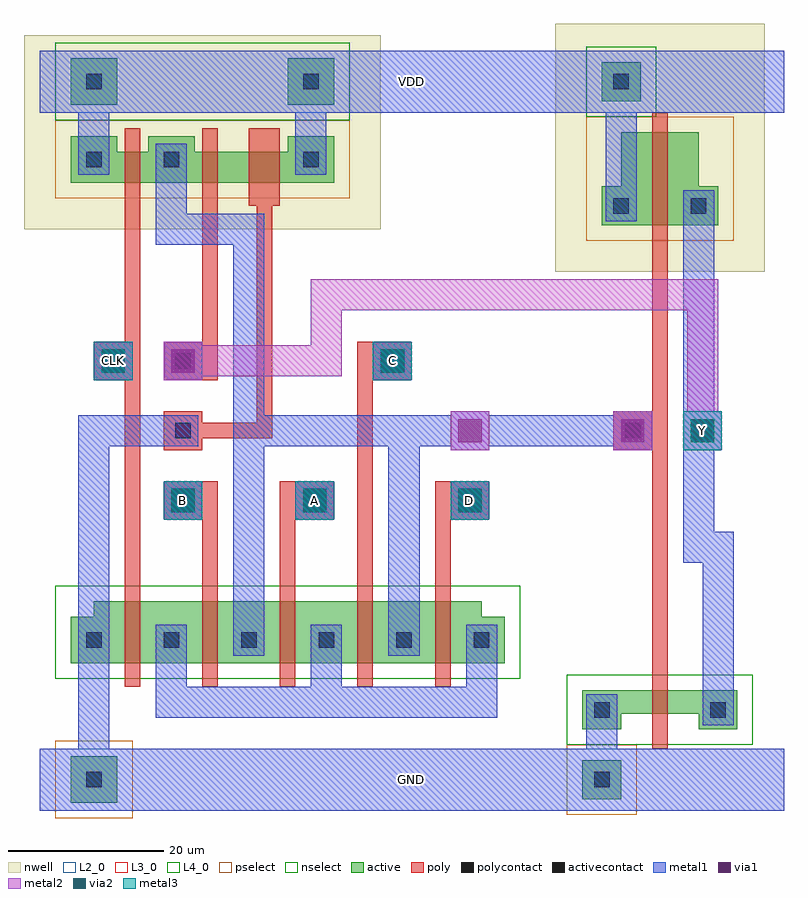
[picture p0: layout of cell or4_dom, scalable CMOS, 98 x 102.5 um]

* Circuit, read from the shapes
.subckt or4_dom A B C CLK D GND VDD Y
M1 n1 CLK GND GND nfet w=8u l=2u
M2 inv_hskew_1/X B n1 GND nfet w=8u l=2u
M3 n1 A inv_hskew_1/X GND nfet w=8u l=2u
M4 inv_hskew_1/X C n1 GND nfet w=8u l=2u
M5 n1 D inv_hskew_1/X GND nfet w=8u l=2u
M6 Y inv_hskew_1/X GND GND nfet w=3u l=2u
M7 inv_hskew_1/X CLK VDD VDD pfet w=4u l=2u
M8 n2 Y inv_hskew_1/X VDD pfet w=4u l=2u
M9 VDD GND n2 VDD pfet w=4u l=4u
M10 Y inv_hskew_1/X VDD VDD pfet w=12u l=2u
.ends

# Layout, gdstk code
import gdstk
lib = gdstk.Library(unit=1e-6, precision=1e-09)
def R(c, l, rs):  # rectangles x0, y0, x1, y1
    for r in rs: c.add(gdstk.rectangle(r[:2], r[2:], *l))
def A(c, l, x, y, w, h, nx, ny, dx, dy):  # array of equal rectangles
    R(c, l, [(x+i*dx, y+j*dy, x+i*dx+w, y+j*dy+h) for i in range(nx) for j in range(ny)])
def P(c, l, *ps):  # polygons
    for p in ps: c.add(gdstk.Polygon(p, *l))
L2_0 = (2, 0)
L3_0 = (3, 0)
L4_0 = (4, 0)
nwell = (42, 0)
active = (43, 0)
pselect = (44, 0)
nselect = (45, 0)
poly = (46, 0)
polycontact = (47, 0)
activecontact = (48, 0)
metal1 = (49, 0)
via1 = (50, 0)
metal2 = (51, 0)
via2 = (61, 0)
metal3 = (62, 0)

nor4_dyn = lib.new_cell('nor4_dyn')
R(nor4_dyn, L2_0, [(-9,-84,55,-76), (-9,6,55,14)])
R(nor4_dyn, L3_0, [(7,-46.5,12,-41.5), (24,-46.5,29,-41.5), (44,-46.5,49,-41.5), (44,-37.5,49,-32.5), (-2,-28.5,3,-23.5), (7,-28.5,12,-23.5), (34,-28.5,39,-23.5)])
R(nor4_dyn, nwell, [(-11,-9,35,16)])
A(nor4_dyn, active, 1, -61, 4, 4, 5, 1, 10, 0)
R(nor4_dyn, active, [(-5,-83,1,-77), (-5,-65,11,-61), (11,-65,15,-61), (15,-65,21,-57), (21,-65,31,-61), (31,-65,51,-61), (-5,-61,1,-59), (5,-61,11,-57), (25,-61,31,-57), (35,-61,41,-57), (45,-61,51,-59), (-2,-59,1,-57), (45,-59,48,-57), (-5,-3,11,1), (11,-3,16,1), (16,-3,29,1), (-5,1,1,3), (5,1,11,3), (23,1,29,3), (-5,7,1,13), (23,7,29,13)])
R(nor4_dyn, pselect, [(-7,-85,3,-75), (-7,-5,31,5)])
R(nor4_dyn, nselect, [(-7,-67,53,-55), (-7,5,31,15)])
A(nor4_dyn, poly, 2, -68, 2, 10, 5, 1, 10, 0)
A(nor4_dyn, poly, 7, -46.5, 5, 5, 1, 3, 0, 9)
R(nor4_dyn, poly, [(24,-46.5,29,-41.5), (44,-46.5,49,-41.5), (-2,-28.5,3,-23.5), (34,-28.5,39,-23.5), (2,-6,4,4), (12,-6,14,4), (18,-6,22,4)])
A(nor4_dyn, polycontact, 8.5, -45, 2, 2, 1, 3, 0, 9)
R(nor4_dyn, polycontact, [(25.5,-45,27.5,-43), (45.5,-45,47.5,-43), (-0.5,-27,1.5,-25), (35.5,-27,37.5,-25)])
A(nor4_dyn, activecontact, -3, -63, 2, 2, 6, 1, 10, 0)
R(nor4_dyn, activecontact, [(-3,-81,-1,-79), (-3,-1,-1,1), (7,-1,9,1), (25,-1,27,1), (-3,9,-1,11), (25,9,27,11)])
A(nor4_dyn, metal1, -4, -64, 4, 4, 6, 1, 10, 0)
R(nor4_dyn, metal1, [(-9,-84,55,-76), (-4,-82,0,-78), (6,-72,50,-68), (7,-46.5,12,-41.5), (24,-46.5,29,-41.5), (44,-46.5,49,-41.5), (44,-37.5,49,-32.5), (7.5,-37,11.5,-33), (-2,-28.5,3,-23.5), (7,-28.5,12,-23.5), (34,-28.5,39,-23.5), (6,-11,20,-7), (-4,-2,0,2), (6,-2,10,2), (24,-2,28,2), (-9,6,55,14), (-4,8,0,12), (24,8,28,12)])
R(nor4_dyn, via1, [(8,-45.5,11,-42.5), (25,-45.5,28,-42.5), (45,-45.5,48,-42.5), (45,-36.5,48,-33.5), (-1,-27.5,2,-24.5), (8,-27.5,11,-24.5), (35,-27.5,38,-24.5)])
R(nor4_dyn, metal2, [(7,-46.5,12,-41.5), (24,-46.5,29,-41.5), (44,-46.5,49,-41.5), (44,-37.5,49,-32.5), (-2,-28.5,3,-23.5), (7,-28.5,12,-23.5), (34,-28.5,39,-23.5)])
nor4_dyn.add(gdstk.FlexPath([(-2,-64),(-2,-78)], 4, ends="flush", simple_path=True, layer=49, datatype=0))  # metal1
nor4_dyn.add(gdstk.FlexPath([(26,8),(26,2)], 4, ends="flush", simple_path=True, layer=49, datatype=0))  # metal1
nor4_dyn.add(gdstk.FlexPath([(8,-2),(8,-7)], 4, ends="flush", simple_path=True, layer=49, datatype=0))  # metal1
nor4_dyn.add(gdstk.FlexPath([(44,-35),(20,-35)], 4, ends="flush", simple_path=True, layer=49, datatype=0))  # metal1
nor4_dyn.add(gdstk.FlexPath([(38,-60),(38,-37)], 4, ends="flush", simple_path=True, layer=49, datatype=0))  # metal1
nor4_dyn.add(gdstk.FlexPath([(48,-68),(48,-64)], 4, ends="flush", simple_path=True, layer=49, datatype=0))  # metal1
nor4_dyn.add(gdstk.FlexPath([(7.5,-35),(-2,-35),(-2,-60)], 4, ends="flush", simple_path=True, layer=49, datatype=0))  # metal1
nor4_dyn.add(gdstk.FlexPath([(-2,8),(-2,2)], 4, ends="flush", simple_path=True, layer=49, datatype=0))  # metal1
nor4_dyn.add(gdstk.FlexPath([(8,-64),(8,-68)], 4, ends="flush", simple_path=True, layer=49, datatype=0))  # metal1
nor4_dyn.add(gdstk.FlexPath([(28,-64),(28,-68)], 4, ends="flush", simple_path=True, layer=49, datatype=0))  # metal1
nor4_dyn.add(gdstk.FlexPath([(18,-60),(18,-11)], 4, ends="flush", simple_path=True, layer=49, datatype=0))  # metal1
nor4_dyn.add(gdstk.FlexPath([(13,-6),(13,-28.5)], 2, ends="flush", simple_path=True, layer=46, datatype=0))  # poly
nor4_dyn.add(gdstk.FlexPath([(3,-58),(3,-6)], 2, ends="flush", simple_path=True, layer=46, datatype=0))  # poly
nor4_dyn.add(gdstk.FlexPath([(23,-58),(23,-41.5)], 2, ends="flush", simple_path=True, layer=46, datatype=0))  # poly
nor4_dyn.add(gdstk.FlexPath([(43,-58),(43,-41.5)], 2, ends="flush", simple_path=True, layer=46, datatype=0))  # poly
nor4_dyn.add(gdstk.FlexPath([(33,-58),(33,-23.5)], 2, ends="flush", simple_path=True, layer=46, datatype=0))  # poly
nor4_dyn.add(gdstk.FlexPath([(16,-35),(12,-35)], 2, ends="flush", simple_path=True, layer=46, datatype=0))  # poly
nor4_dyn.add(gdstk.FlexPath([(20,-6),(20,-35),(16,-35)], 2, ends="flush", simple_path=True, layer=46, datatype=0))  # poly
nor4_dyn.add(gdstk.FlexPath([(13,-58),(13,-41.5)], 2, ends="flush", simple_path=True, layer=46, datatype=0))  # poly
nor4_dyn.add(gdstk.Label('CLK', (0.5,-26), layer=3, texttype=0))
nor4_dyn.add(gdstk.Label('Y', (9.5,-26), layer=3, texttype=0))
nor4_dyn.add(gdstk.Label('B', (9.5,-44), layer=3, texttype=0))
nor4_dyn.add(gdstk.Label('A', (26.5,-44), layer=3, texttype=0))
nor4_dyn.add(gdstk.Label('X', (46.5,-35), layer=3, texttype=0))
nor4_dyn.add(gdstk.Label('C', (36.5,-26), layer=3, texttype=0))
nor4_dyn.add(gdstk.Label('D', (46.5,-44), layer=3, texttype=0))
nor4_dyn.add(gdstk.Label('GND', (23,-80), layer=2, texttype=0))
nor4_dyn.add(gdstk.Label('VDD', (23,10), layer=2, texttype=0))

inv_hskew = lib.new_cell('inv_hskew')
R(inv_hskew, L2_0, [(-11,-94.5,21,-86.5), (-11,-4.5,21,3.5)])
R(inv_hskew, L3_0, [(-1,-48,4,-43), (8,-48,13,-43)])
R(inv_hskew, nwell, [(-8.5,-25,18.5,7)])
R(inv_hskew, active, [(-5,-93,0,-88), (-2.5,-3,2.5,2)])
P(inv_hskew, active, [(-5,-84),(0,-84),(0,-82),(10,-82),(10,-84),(15,-84),(15,-79),(-5,-79)],
  [(-2.5,-19),(12.5,-19),(12.5,-14),(10,-14),(10,-7),(0,-7),(0,-14),(-2.5,-14)])
R(inv_hskew, pselect, [(-7,-95,2,-86), (-4.5,-21,14.5,-5)])
R(inv_hskew, nselect, [(-7,-86,17,-77), (-4.5,-5,4.5,4)])
R(inv_hskew, poly, [(4,-86.5,6,-78), (-1,-48,4,-43), (4,-13,6,-4.5)])
R(inv_hskew, polycontact, [(0.5,-46.5,2.5,-44.5)])
R(inv_hskew, activecontact, [(-3.5,-91.5,-1.5,-89.5), (-3.5,-82.5,-1.5,-80.5), (11.5,-82.5,13.5,-80.5), (-1,-17.5,1,-15.5), (9,-17.5,11,-15.5), (-1,-1.5,1,0.5)])
R(inv_hskew, metal1, [(-11,-94.5,21,-86.5), (-4.5,-92.5,-0.5,-88.5), (-4.5,-83.5,-0.5,-79.5), (10.5,-83.5,14.5,-79.5), (-1,-48,4,-43), (8,-48,13,-43), (-2,-18.5,2,-14.5), (8,-18.5,12,-14.5), (-11,-4.5,21,3.5), (-2,-2.5,2,1.5)])
R(inv_hskew, via1, [(0,-47,3,-44), (9,-47,12,-44)])
R(inv_hskew, metal2, [(-1,-48,4,-43), (8,-48,13,-43)])
inv_hskew.add(gdstk.FlexPath([(5,-13),(5,-78)], 2, ends="flush", simple_path=True, layer=46, datatype=0))  # poly
inv_hskew.add(gdstk.FlexPath([(10,-48),(10,-60.5),(12.5,-60.5),(12.5,-79.5)], 4, ends="flush", simple_path=True, layer=49, datatype=0))  # metal1
inv_hskew.add(gdstk.FlexPath([(-2.5,-83.5),(-2.5,-88.5)], 4, ends="flush", simple_path=True, layer=49, datatype=0))  # metal1
inv_hskew.add(gdstk.FlexPath([(0,-14.5),(0,-2.5)], 4, ends="flush", simple_path=True, layer=49, datatype=0))  # metal1
inv_hskew.add(gdstk.FlexPath([(10,-18.5),(10,-43)], 4, ends="flush", simple_path=True, layer=49, datatype=0))  # metal1
inv_hskew.add(gdstk.Label('VDD', (5,-0.5), layer=2, texttype=0))
inv_hskew.add(gdstk.Label('GND', (5,-90.5), layer=2, texttype=0))
inv_hskew.add(gdstk.Label('X', (1.5,-45.5), layer=3, texttype=0))
inv_hskew.add(gdstk.Label('Y', (10.5,-45.5), layer=3, texttype=0))

or4_dom = lib.new_cell('or4_dom')
R(or4_dom, L2_0, [(-9,-84,87,-76), (-9,6,87,14)])
R(or4_dom, L4_0, [(7,-46.5,12,-41.5), (24,-46.5,29,-41.5), (44,-46.5,49,-41.5), (74,-37.5,79,-32.5), (-2,-28.5,3,-23.5), (34,-28.5,39,-23.5)])
R(or4_dom, via2, [(8,-45.5,11,-42.5), (25,-45.5,28,-42.5), (45,-45.5,48,-42.5), (75,-36.5,78,-33.5), (-1,-27.5,2,-24.5), (35,-27.5,38,-24.5)])
R(or4_dom, metal3, [(7,-46.5,12,-41.5), (24,-46.5,29,-41.5), (44,-46.5,49,-41.5), (74,-37.5,79,-32.5), (-2,-28.5,3,-23.5), (34,-28.5,39,-23.5)])
or4_dom.add(gdstk.FlexPath([(49,-35),(65,-35)], 4, ends="flush", simple_path=True, layer=49, datatype=0))  # metal1
or4_dom.add(gdstk.FlexPath([(12,-26),(28,-26),(28,-17.5),(76.5,-17.5),(76.5,-32.5)], 4, ends="flush", simple_path=True, layer=51, datatype=0))  # metal2
or4_dom.add(gdstk.Reference(nor4_dyn, (0,0)))
or4_dom.add(gdstk.Reference(inv_hskew, (66,10.5)))
or4_dom.add(gdstk.Label('VDD', (39,10), layer=2, texttype=0))
or4_dom.add(gdstk.Label('GND', (39,-80), layer=2, texttype=0))
or4_dom.add(gdstk.Label('CLK', (0.5,-26), layer=4, texttype=0))
or4_dom.add(gdstk.Label('B', (9.5,-44), layer=4, texttype=0))
or4_dom.add(gdstk.Label('A', (26.5,-44), layer=4, texttype=0))
or4_dom.add(gdstk.Label('C', (36.5,-26), layer=4, texttype=0))
or4_dom.add(gdstk.Label('D', (46.5,-44), layer=4, texttype=0))
or4_dom.add(gdstk.Label('Y', (76.5,-35), layer=4, texttype=0))

lib.write_gds('or4_dom.gds')
